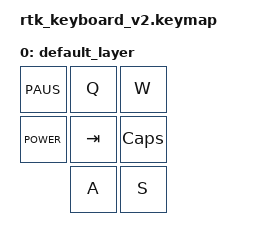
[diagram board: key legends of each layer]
/*
 * Copyright (c) 2023 The ZMK Contributors
 *
 * SPDX-License-Identifier: MIT
 */

#include <behaviors.dtsi>
#include <dt-bindings/zmk/bt.h>
#include <dt-bindings/zmk/keys.h>
#include <dt-bindings/zmk/rgb.h>

#define DEFAULT 0
//#define FN      1

/ {
    keymap {
        compatible = "zmk,keymap";

        default_layer {
            bindings = <
    &kp PAUS     &kp Q      &kp W     //&kp E   &kp R   &kp U   &kp I              &kp P        &kp SCROLLLOCK                     &kp KP_N7      &kp KP_N8     &kp KP_N9      &kp SYS_WAKE    &kp C_AL_MAIL
    &kp C_POWER  &kp TAB    &kp CAPS  //&kp F3  &kp T   &kp Y   &kp RIGHT_BRACKET  &kp LEFT_BRACKET               &kp BACKSPACE    &kp KP_N4      &kp KP_N5     &kp KP_N6      &kp LSHFT       &kp LWIN        &kp C_AC_FAVORITES
                 &kp A      &kp S     //&kp D   &kp F   &kp J   &kp K              &kp SEMI   &kp RWIN            &kp NUBS         &kp KP_N1      &kp KP_N2     &kp KP_N3      &kp RSHFT                       &kp RWIN
    //&kp K_SLEEP  &kp ESC              &kp F4  &kp G   &kp H   &kp F6             &kp SQT    &kp LALT            &kp F11          &kp SPACE      &kp KP_N0     &kp KP_DOT     &kp K_VOL_DN
    //&kp RCTL     &kp Z      &kp X     &kp C   &kp V   &kp M   &kp COMMA                                         &kp ENTER        &kp KP_NLCK    &kp KP_SLASH  &kp ASTERISK   &kp K_VOL_UP
    //&kp SYS_WAKE                              &kp B   &kp N                      &kp SLASH    &kp RALT          &kp F12          &kp DARW       &kp RARW      &kp KP_MINUS   &kp C_NEXT                      &kp F13
    //&kp LCTL     &kp GRAVE  &kp F1    &kp F2  &kp N5  &kp N6  &kp EQUAL          &kp MINUS                      &kp F9           &kp DEL        &kp INS       &kp PAGE_UP    &kp C_PREV
    //&kp F5       &kp N1     &kp N2    &kp N3  &kp N4  &kp N7  &kp N8             &kp N0       &kp PRINTSCREEN   &kp F10          &kp K_POWER    &kp K_SLEEP   &kp PAGE_DOWN  &kp END        &kp C_AL_CALC
        >;
        };

//        fn_layer {
//            bindings = <
//    &kp W  &none    &none     &none          &none   &none   &none   &none      &none                     &none    &none       &none     &none     &none  //&none
//    &none  &none    &none     &kp C_AL_FILES &none   &none   &none   &none            &none   &none    &none       &none     &none     //&none  &none
//                    &none     &none          &none   &none   &none   &none            &none   &none            &none       &none     &none     &none  &none  &none  //&none   &none
//    &none  &none              &kp C_AL_SELECT_TASK   &none   &none   &kp C_AL_SCREEN_SAVER    &none    &none       &kp C_VOL_DN        &none  &none  &none // &none   &none
//    &none  &none    &none     &none          &none   &none           &none                                &none    &none       &none     &none            &none  //&none
//    &none                                    &none   &none                              &none    &none            &kp C_VOL_UP         &none     &none     &none  &none  &none  &none   //&none
//    &none  &none    &kp C_BRI_DEC            &kp C_BRI_INC   &none  &none    &none      &none                        &kp C_NEXT    &none &none  &none   //&none &none
//    &kp C_AC_HOME   &none     &none          &none   &none   &none  &none               &none    &none    &kp C_MUTE       &none     //&none       &none   &none
//            >;
//        };
    };
};

